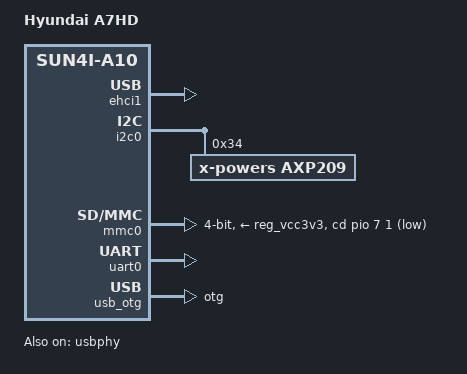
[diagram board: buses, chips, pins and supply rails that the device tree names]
/*
 * Copyright 2015 Hans de Goede <hdegoede@redhat.com>
 *
 * This file is dual-licensed: you can use it either under the terms
 * of the GPL or the X11 license, at your option. Note that this dual
 * licensing only applies to this file, and not this project as a
 * whole.
 *
 *  a) This file is free software; you can redistribute it and/or
 *     modify it under the terms of the GNU General Public License as
 *     published by the Free Software Foundation; either version 2 of the
 *     License, or (at your option) any later version.
 *
 *     This file is distributed in the hope that it will be useful,
 *     but WITHOUT ANY WARRANTY; without even the implied warranty of
 *     MERCHANTABILITY or FITNESS FOR A PARTICULAR PURPOSE.  See the
 *     GNU General Public License for more details.
 *
 * Or, alternatively,
 *
 *  b) Permission is hereby granted, free of charge, to any person
 *     obtaining a copy of this software and associated documentation
 *     files (the "Software"), to deal in the Software without
 *     restriction, including without limitation the rights to use,
 *     copy, modify, merge, publish, distribute, sublicense, and/or
 *     sell copies of the Software, and to permit persons to whom the
 *     Software is furnished to do so, subject to the following
 *     conditions:
 *
 *     The above copyright notice and this permission notice shall be
 *     included in all copies or substantial portions of the Software.
 *
 *     THE SOFTWARE IS PROVIDED "AS IS", WITHOUT WARRANTY OF ANY KIND,
 *     EXPRESS OR IMPLIED, INCLUDING BUT NOT LIMITED TO THE WARRANTIES
 *     OF MERCHANTABILITY, FITNESS FOR A PARTICULAR PURPOSE AND
 *     NONINFRINGEMENT. IN NO EVENT SHALL THE AUTHORS OR COPYRIGHT
 *     HOLDERS BE LIABLE FOR ANY CLAIM, DAMAGES OR OTHER LIABILITY,
 *     WHETHER IN AN ACTION OF CONTRACT, TORT OR OTHERWISE, ARISING
 *     FROM, OUT OF OR IN CONNECTION WITH THE SOFTWARE OR THE USE OR
 *     OTHER DEALINGS IN THE SOFTWARE.
 */

/dts-v1/;
#include "sun4i-a10.dtsi"
#include "sunxi-common-regulators.dtsi"
#include <dt-bindings/gpio/gpio.h>

/ {
	model = "Hyundai A7HD";
	compatible = "hyundai,a7hd", "allwinner,sun4i-a10";

	aliases {
		serial0 = &uart0;
	};

	chosen {
		stdout-path = "serial0:115200n8";
	};
};

&ehci1 {
	status = "okay";
};

&i2c0 {
	pinctrl-names = "default";
	pinctrl-0 = <&i2c0_pins>;
	status = "okay";

	axp209: pmic@34 {
		compatible = "x-powers,axp209";
		reg = <0x34>;
		interrupts = <0>;

		interrupt-controller;
		#interrupt-cells = <1>;
	};
};

&mmc0 {
	pinctrl-names = "default";
	pinctrl-0 = <&mmc0_pins>;
	vmmc-supply = <&reg_vcc3v3>;
	bus-width = <4>;
	cd-gpios = <&pio 7 1 GPIO_ACTIVE_HIGH>; /* PH1 */
	cd-inverted;
	status = "okay";
};

&otg_sram {
	status = "okay";
};

&pio {
	usb0_id_detect_pin: usb0_id_detect_pin@0 {
		pins = "PH4";
		function = "gpio_in";
		bias-pull-up;
	};

	usb0_vbus_detect_pin: usb0_vbus_detect_pin@0 {
		pins = "PH5";
		function = "gpio_in";
		bias-pull-down;
	};
};

&reg_usb0_vbus {
	status = "okay";
};

&reg_usb2_vbus {
	gpio = <&pio 7 6 GPIO_ACTIVE_HIGH>; /* PH6 */
	status = "okay";
};

&uart0 {
	pinctrl-names = "default";
	pinctrl-0 = <&uart0_pb_pins>;
	status = "okay";
};

&usb_otg {
	dr_mode = "otg";
	status = "okay";
};

&usbphy {
	pinctrl-names = "default";
	pinctrl-0 = <&usb0_id_detect_pin>, <&usb0_vbus_detect_pin>;
	usb0_id_det-gpio = <&pio 7 4 GPIO_ACTIVE_HIGH>; /* PH4 */
	usb0_vbus_det-gpio = <&pio 7 5 GPIO_ACTIVE_HIGH>; /* PH5 */
	usb0_vbus-supply = <&reg_usb0_vbus>;
	usb2_vbus-supply = <&reg_usb2_vbus>;
	status = "okay";
};
